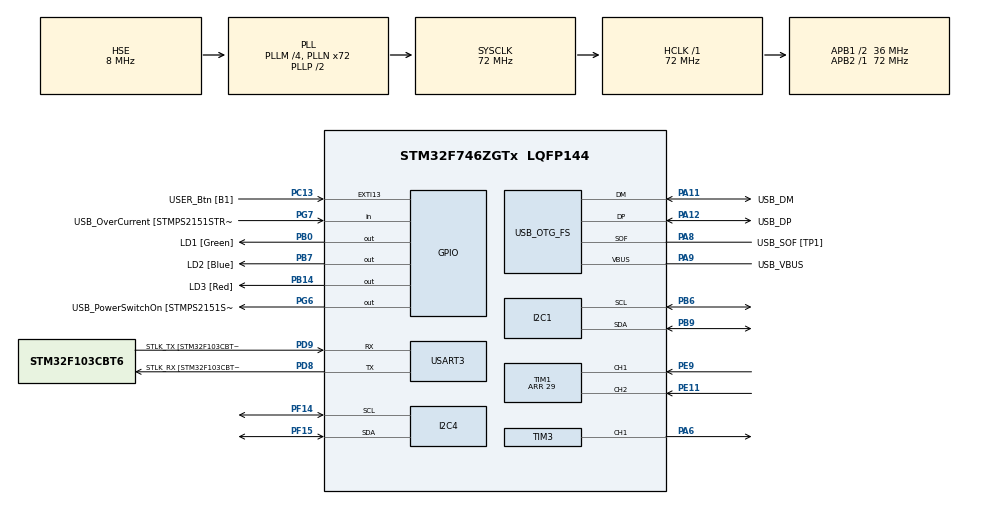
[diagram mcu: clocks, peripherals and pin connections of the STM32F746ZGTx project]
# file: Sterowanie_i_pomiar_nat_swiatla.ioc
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I2C1.Timing=0x00808CD2
I2C4.Timing=0x00808CD2
Mcu.Family=STM32F7
Mcu.Name=STM32F746ZGTx
Mcu.Package=LQFP144
NVIC.PriorityGroup=NVIC_PRIORITYGROUP_4
PA1.GPIO_Label=RMII_REF_CLK [LAN8742A-CZ-TR_REFCLK0]
PA1.Signal=ETH_REF_CLK
PA10.GPIO_Label=USB_ID
PA10.Signal=USB_OTG_FS_ID
PA11.GPIO_Label=USB_DM
PA11.Mode=Device_Only
PA11.Signal=USB_OTG_FS_DM
PA12.GPIO_Label=USB_DP
PA12.Mode=Device_Only
PA12.Signal=USB_OTG_FS_DP
PA13.GPIO_Label=TMS
PA13.Mode=Serial_Wire
PA13.Signal=SYS_JTMS-SWDIO
PA14.GPIO_Label=TCK
PA14.Mode=Serial_Wire
PA14.Signal=SYS_JTCK-SWCLK
PA2.GPIO_Label=RMII_MDIO [LAN8742A-CZ-TR_MDIO]
PA2.Signal=ETH_MDIO
PA6.Signal=S_TIM3_CH1
PA7.GPIO_Label=RMII_CRS_DV [LAN8742A-CZ-TR_CRS_DV]
PA7.Signal=ETH_CRS_DV
PA8.GPIO_Label=USB_SOF [TP1]
PA8.Mode=Activate_SOF_FS
PA8.Signal=USB_OTG_FS_SOF
PA9.GPIO_Label=USB_VBUS
PA9.Mode=Activate_VBUS
PA9.Signal=USB_OTG_FS_VBUS
PB0.GPIO_Label=LD1 [Green]
PB0.Signal=GPIO_Output
PB13.GPIO_Label=RMII_TXD1 [LAN8742A-CZ-TR_TXD1]
PB13.Signal=ETH_TXD1
PB14.GPIO_Label=LD3 [Red]
PB14.Signal=GPIO_Output
PB3.GPIO_Label=SW0
PB3.Signal=SYS_JTDO-SWO
PB6.Mode=I2C
PB6.Signal=I2C1_SCL
PB7.GPIO_Label=LD2 [Blue]
PB7.Signal=GPIO_Output
PB9.Mode=I2C
PB9.Signal=I2C1_SDA
PC1.GPIO_Label=RMII_MDC [LAN8742A-CZ-TR_MDC]
PC1.Signal=ETH_MDC
PC13.GPIO_Label=USER_Btn [B1]
PC13.Signal=GPXTI13
PC14/OSC32_IN.Mode=LSE-External-Oscillator
PC14/OSC32_IN.Signal=RCC_OSC32_IN
PC15/OSC32_OUT.Mode=LSE-External-Oscillator
PC15/OSC32_OUT.Signal=RCC_OSC32_OUT
PC4.GPIO_Label=RMII_RXD0 [LAN8742A-CZ-TR_RXD0]
PC4.Signal=ETH_RXD0
PC5.GPIO_Label=RMII_RXD1 [LAN8742A-CZ-TR_RXD1]
PC5.Signal=ETH_RXD1
PD8.GPIO_Label=STLK_RX [STM32F103CBT6_PA3]
PD8.Mode=Asynchronous
PD8.Signal=USART3_TX
PD9.GPIO_Label=STLK_TX [STM32F103CBT6_PA2]
PD9.Mode=Asynchronous
PD9.Signal=USART3_RX
PE11.Signal=S_TIM1_CH2
PE9.Signal=S_TIM1_CH1
PF14.Mode=I2C
PF14.Signal=I2C4_SCL
PF15.Mode=I2C
PF15.Signal=I2C4_SDA
PG11.GPIO_Label=RMII_TX_EN [LAN8742A-CZ-TR_TXEN]
PG11.Signal=ETH_TX_EN
PG13.GPIO_Label=RMII_TXD0 [LAN8742A-CZ-TR_TXD0]
PG13.Signal=ETH_TXD0
PG6.GPIO_Label=USB_PowerSwitchOn [STMPS2151STR_EN]
PG6.Signal=GPIO_Output
PG7.GPIO_Label=USB_OverCurrent [STMPS2151STR_FAULT]
PG7.Signal=GPIO_Input
PH0/OSC_IN.GPIO_Label=MCO [STM32F103CBT6_PA8]
PH0/OSC_IN.Mode=HSE-External-Clock-Source
PH0/OSC_IN.Signal=RCC_OSC_IN
PH1/OSC_OUT.Mode=HSE-External-Clock-Source
PH1/OSC_OUT.Signal=RCC_OSC_OUT
ProjectManager.HeapSize=0x200
ProjectManager.StackSize=0x400
ProjectManager.TargetToolchain=STM32CubeIDE
RCC.48MHZClocksFreq_Value=24000000
RCC.AHBFreq_Value=72000000
RCC.APB1CLKDivider=RCC_HCLK_DIV2
RCC.APB1Freq_Value=36000000
RCC.APB1TimFreq_Value=72000000
RCC.APB2Freq_Value=72000000
RCC.APB2TimFreq_Value=72000000
RCC.CortexFreq_Value=72000000
RCC.HCLKFreq_Value=72000000
RCC.HSE_VALUE=8000000
RCC.HSI_VALUE=16000000
RCC.PLLM=4
RCC.PLLMUL=RCC_PLL_MUL9
RCC.PLLN=72
RCC.PLLQ=3
RCC.PRESCALERUSB=RCC_USBCLKSOURCE_PLL_DIV1_5
RCC.SYSCLKFreq_VALUE=72000000
RCC.SYSCLKSource=RCC_SYSCLKSOURCE_PLLCLK
RCC.SYSCLKSourceVirtual=RCC_SYSCLKSOURCE_PLLCLK
RCC.USBFreq_Value=48000000
RCC.VCOOutputFreq_Value=144000000
SH.S_TIM1_CH1.0=TIM1_CH1,Encoder_Interface
SH.S_TIM1_CH2.0=TIM1_CH2,Encoder_Interface
SH.S_TIM3_CH1.0=TIM3_CH1,PWM Generation1 CH1
TIM1.Period=29
TIM3.Channel-PWM\ Generation1\ CH1=TIM_CHANNEL_1
TIM3.Period=99
USART3.VirtualMode-Asynchronous=VM_ASYNC
USB_OTG_FS.VirtualMode=Device_Only
board=NUCLEO-F746ZG

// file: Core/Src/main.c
/* USER CODE BEGIN Header */
/**
  ******************************************************************************
  * @file           : main.c
  * @brief          : Main program body
  ******************************************************************************
  * @attention
  *
  * <h2><center>&copy; Copyright (c) 2022 STMicroelectronics.
  * All rights reserved.</center></h2>
  *
  * This software component is licensed by ST under BSD 3-Clause license,
  * the "License"; You may not use this file except in compliance with the
  * License. You may obtain a copy of the License at:
  *                        opensource.org/licenses/BSD-3-Clause
  *
  ******************************************************************************
  */
/* USER CODE END Header */
#include "main.h"

/* USER CODE BEGIN Includes */
#include "i2c-lcd.h"
#include "bh1750.h"
#include <stdio.h>
#include <string.h>

/* USER CODE END Includes */

I2C_HandleTypeDef hi2c1;
I2C_HandleTypeDef hi2c4;

TIM_HandleTypeDef htim1;
TIM_HandleTypeDef htim3;

UART_HandleTypeDef huart3;

PCD_HandleTypeDef hpcd_USB_OTG_FS;

/* USER CODE BEGIN PV */
float BH1750_lux;

/* USER CODE END PV */

void SystemClock_Config(void);
static void MX_GPIO_Init(void);
static void MX_USART3_UART_Init(void);
static void MX_USB_OTG_FS_PCD_Init(void);
static void MX_I2C4_Init(void);
static void MX_TIM3_Init(void);
static void MX_I2C1_Init(void);
static void MX_TIM1_Init(void);

int main(void)
{
  /* USER CODE BEGIN 1 */
#define MAX_LENGTH 30
char text[MAX_LENGTH];
char msg[64];
int impulsy;
int pwm = 0;
int pwm_max = 100;
int pwm_min = 0;
  /* USER CODE END 1 */

  /* MCU Configuration--------------------------------------------------------*/

  /* Reset of all peripherals, Initializes the Flash interface and the Systick. */
  HAL_Init();

  /* Configure the system clock */
  SystemClock_Config();

  /* Initialize all configured peripherals */
  MX_GPIO_Init();
  MX_USART3_UART_Init();
  MX_USB_OTG_FS_PCD_Init();
  MX_I2C4_Init();
  MX_TIM3_Init();
  MX_I2C1_Init();
  MX_TIM1_Init();
  /* USER CODE BEGIN 2 */

  HAL_TIM_PWM_Start(&htim3,TIM_CHANNEL_1);

  HAL_TIM_Encoder_Start(&htim1, TIM_CHANNEL_ALL);

  BH1750_Init(&hi2c1);
  BH1750_SetMode(CONTINUOUS_HIGH_RES_MODE_2);

  lcd_init();
  lcd_send_string ("Projekt");
  HAL_Delay(1000);
  lcd_put_cur(0, 0);
  lcd_send_string("Grzegorz");
  lcd_put_cur(1, 0);
  lcd_send_string("Gruszczynski");
  HAL_Delay(1500);

  /* USER CODE END 2 */

  /* Infinite loop */
  while (1)
  {

    /* USER CODE BEGIN 3 */

	  BH1750_ReadLight(&BH1750_lux);

	  lcd_clear ();
	  lcd_put_cur(0, 0);
	  sprintf((char*)text, "P.swiatla  %.2f  LUX", BH1750_lux);
	  lcd_send_string(text);

	  int imp = impulsy;
	  impulsy = __HAL_TIM_GET_COUNTER(&htim1);
	  if((impulsy > imp) && (pwm < pwm_max)){
	  	pwm = pwm + 10;
	  }else if((impulsy < imp) && (pwm > pwm_min)){
	  	pwm = pwm - 10;
	  }
	  __HAL_TIM_SET_COMPARE(&htim3,TIM_CHANNEL_1,pwm);

	  sprintf((char*)msg, "PWM = %3i" , pwm);
	  lcd_put_cur(1,0);
	  lcd_send_string(msg);
	  HAL_Delay(250);

  }
  /* USER CODE END 3 */
}

void SystemClock_Config(void)
{
  RCC_OscInitTypeDef RCC_OscInitStruct = {0};
  RCC_ClkInitTypeDef RCC_ClkInitStruct = {0};
  RCC_PeriphCLKInitTypeDef PeriphClkInitStruct = {0};

  /** Configure LSE Drive Capability
  */
  HAL_PWR_EnableBkUpAccess();
  /** Configure the main internal regulator output voltage
  */
  __HAL_RCC_PWR_CLK_ENABLE();
  __HAL_PWR_VOLTAGESCALING_CONFIG(PWR_REGULATOR_VOLTAGE_SCALE3);
  /** Initializes the RCC Oscillators according to the specified parameters
  * in the RCC_OscInitTypeDef structure.
  */
  RCC_OscInitStruct.OscillatorType = RCC_OSCILLATORTYPE_HSE;
  RCC_OscInitStruct.HSEState = RCC_HSE_BYPASS;
  RCC_OscInitStruct.PLL.PLLState = RCC_PLL_ON;
  RCC_OscInitStruct.PLL.PLLSource = RCC_PLLSOURCE_HSE;
  RCC_OscInitStruct.PLL.PLLM = 4;
  RCC_OscInitStruct.PLL.PLLN = 72;
  RCC_OscInitStruct.PLL.PLLP = RCC_PLLP_DIV2;
  RCC_OscInitStruct.PLL.PLLQ = 3;
  if (HAL_RCC_OscConfig(&RCC_OscInitStruct) != HAL_OK)
  {
    Error_Handler();
  }
  /** Initializes the CPU, AHB and APB buses clocks
  */
  RCC_ClkInitStruct.ClockType = RCC_CLOCKTYPE_HCLK|RCC_CLOCKTYPE_SYSCLK
                              |RCC_CLOCKTYPE_PCLK1|RCC_CLOCKTYPE_PCLK2;
  RCC_ClkInitStruct.SYSCLKSource = RCC_SYSCLKSOURCE_PLLCLK;
  RCC_ClkInitStruct.AHBCLKDivider = RCC_SYSCLK_DIV1;
  RCC_ClkInitStruct.APB1CLKDivider = RCC_HCLK_DIV2;
  RCC_ClkInitStruct.APB2CLKDivider = RCC_HCLK_DIV1;

  if (HAL_RCC_ClockConfig(&RCC_ClkInitStruct, FLASH_LATENCY_2) != HAL_OK)
  {
    Error_Handler();
  }
  PeriphClkInitStruct.PeriphClockSelection = RCC_PERIPHCLK_USART3|RCC_PERIPHCLK_I2C1
                              |RCC_PERIPHCLK_I2C4|RCC_PERIPHCLK_CLK48;
  PeriphClkInitStruct.Usart3ClockSelection = RCC_USART3CLKSOURCE_PCLK1;
  PeriphClkInitStruct.I2c1ClockSelection = RCC_I2C1CLKSOURCE_PCLK1;
  PeriphClkInitStruct.I2c4ClockSelection = RCC_I2C4CLKSOURCE_PCLK1;
  PeriphClkInitStruct.Clk48ClockSelection = RCC_CLK48SOURCE_PLL;
  if (HAL_RCCEx_PeriphCLKConfig(&PeriphClkInitStruct) != HAL_OK)
  {
    Error_Handler();
  }
}

static void MX_I2C1_Init(void)
{

  hi2c1.Instance = I2C1;
  hi2c1.Init.Timing = 0x00808CD2;
  hi2c1.Init.OwnAddress1 = 0;
  hi2c1.Init.AddressingMode = I2C_ADDRESSINGMODE_7BIT;
  hi2c1.Init.DualAddressMode = I2C_DUALADDRESS_DISABLE;
  hi2c1.Init.OwnAddress2 = 0;
  hi2c1.Init.OwnAddress2Masks = I2C_OA2_NOMASK;
  hi2c1.Init.GeneralCallMode = I2C_GENERALCALL_DISABLE;
  hi2c1.Init.NoStretchMode = I2C_NOSTRETCH_DISABLE;
  if (HAL_I2C_Init(&hi2c1) != HAL_OK)
  {
    Error_Handler();
  }
  /** Configure Analogue filter
  */
  if (HAL_I2CEx_ConfigAnalogFilter(&hi2c1, I2C_ANALOGFILTER_ENABLE) != HAL_OK)
  {
    Error_Handler();
  }
  /** Configure Digital filter
  */
  if (HAL_I2CEx_ConfigDigitalFilter(&hi2c1, 0) != HAL_OK)
  {
    Error_Handler();
  }

}

static void MX_I2C4_Init(void)
{

  hi2c4.Instance = I2C4;
  hi2c4.Init.Timing = 0x00808CD2;
  hi2c4.Init.OwnAddress1 = 0;
  hi2c4.Init.AddressingMode = I2C_ADDRESSINGMODE_7BIT;
  hi2c4.Init.DualAddressMode = I2C_DUALADDRESS_DISABLE;
  hi2c4.Init.OwnAddress2 = 0;
  hi2c4.Init.OwnAddress2Masks = I2C_OA2_NOMASK;
  hi2c4.Init.GeneralCallMode = I2C_GENERALCALL_DISABLE;
  hi2c4.Init.NoStretchMode = I2C_NOSTRETCH_DISABLE;
  if (HAL_I2C_Init(&hi2c4) != HAL_OK)
  {
    Error_Handler();
  }
  /** Configure Analogue filter
  */
  if (HAL_I2CEx_ConfigAnalogFilter(&hi2c4, I2C_ANALOGFILTER_ENABLE) != HAL_OK)
  {
    Error_Handler();
  }
  /** Configure Digital filter
  */
  if (HAL_I2CEx_ConfigDigitalFilter(&hi2c4, 0) != HAL_OK)
  {
    Error_Handler();
  }

}

static void MX_TIM1_Init(void)
{

  TIM_Encoder_InitTypeDef sConfig = {0};
  TIM_MasterConfigTypeDef sMasterConfig = {0};

  htim1.Instance = TIM1;
  htim1.Init.Prescaler = 0;
  htim1.Init.CounterMode = TIM_COUNTERMODE_UP;
  htim1.Init.Period = 23;
  htim1.Init.ClockDivision = TIM_CLOCKDIVISION_DIV1;
  htim1.Init.RepetitionCounter = 0;
  htim1.Init.AutoReloadPreload = TIM_AUTORELOAD_PRELOAD_DISABLE;
  sConfig.EncoderMode = TIM_ENCODERMODE_TI1;
  sConfig.IC1Polarity = TIM_ICPOLARITY_RISING;
  sConfig.IC1Selection = TIM_ICSELECTION_DIRECTTI;
  sConfig.IC1Prescaler = TIM_ICPSC_DIV1;
  sConfig.IC1Filter = 0;
  sConfig.IC2Polarity = TIM_ICPOLARITY_RISING;
  sConfig.IC2Selection = TIM_ICSELECTION_DIRECTTI;
  sConfig.IC2Prescaler = TIM_ICPSC_DIV1;
  sConfig.IC2Filter = 0;
  if (HAL_TIM_Encoder_Init(&htim1, &sConfig) != HAL_OK)
  {
    Error_Handler();
  }
  sMasterConfig.MasterOutputTrigger = TIM_TRGO_RESET;
  sMasterConfig.MasterOutputTrigger2 = TIM_TRGO2_RESET;
  sMasterConfig.MasterSlaveMode = TIM_MASTERSLAVEMODE_DISABLE;
  if (HAL_TIMEx_MasterConfigSynchronization(&htim1, &sMasterConfig) != HAL_OK)
  {
    Error_Handler();
  }

}

static void MX_TIM3_Init(void)
{

  TIM_ClockConfigTypeDef sClockSourceConfig = {0};
  TIM_MasterConfigTypeDef sMasterConfig = {0};
  TIM_OC_InitTypeDef sConfigOC = {0};

  htim3.Instance = TIM3;
  htim3.Init.Prescaler = 0;
  htim3.Init.CounterMode = TIM_COUNTERMODE_UP;
  htim3.Init.Period = 99;
  htim3.Init.ClockDivision = TIM_CLOCKDIVISION_DIV1;
  htim3.Init.AutoReloadPreload = TIM_AUTORELOAD_PRELOAD_DISABLE;
  if (HAL_TIM_Base_Init(&htim3) != HAL_OK)
  {
    Error_Handler();
  }
  sClockSourceConfig.ClockSource = TIM_CLOCKSOURCE_INTERNAL;
  if (HAL_TIM_ConfigClockSource(&htim3, &sClockSourceConfig) != HAL_OK)
  {
    Error_Handler();
  }
  if (HAL_TIM_PWM_Init(&htim3) != HAL_OK)
  {
    Error_Handler();
  }
  sMasterConfig.MasterOutputTrigger = TIM_TRGO_RESET;
  sMasterConfig.MasterSlaveMode = TIM_MASTERSLAVEMODE_DISABLE;
  if (HAL_TIMEx_MasterConfigSynchronization(&htim3, &sMasterConfig) != HAL_OK)
  {
    Error_Handler();
  }
  sConfigOC.OCMode = TIM_OCMODE_PWM1;
  sConfigOC.Pulse = 0;
  sConfigOC.OCPolarity = TIM_OCPOLARITY_HIGH;
  sConfigOC.OCFastMode = TIM_OCFAST_DISABLE;
  if (HAL_TIM_PWM_ConfigChannel(&htim3, &sConfigOC, TIM_CHANNEL_1) != HAL_OK)
  {
    Error_Handler();
  }
  HAL_TIM_MspPostInit(&htim3);

}

static void MX_USART3_UART_Init(void)
{

  huart3.Instance = USART3;
  huart3.Init.BaudRate = 115200;
  huart3.Init.WordLength = UART_WORDLENGTH_8B;
  huart3.Init.StopBits = UART_STOPBITS_1;
  huart3.Init.Parity = UART_PARITY_NONE;
  huart3.Init.Mode = UART_MODE_TX_RX;
  huart3.Init.HwFlowCtl = UART_HWCONTROL_NONE;
  huart3.Init.OverSampling = UART_OVERSAMPLING_16;
  huart3.Init.OneBitSampling = UART_ONE_BIT_SAMPLE_DISABLE;
  huart3.AdvancedInit.AdvFeatureInit = UART_ADVFEATURE_NO_INIT;
  if (HAL_UART_Init(&huart3) != HAL_OK)
  {
    Error_Handler();
  }

}

static void MX_USB_OTG_FS_PCD_Init(void)
{

  hpcd_USB_OTG_FS.Instance = USB_OTG_FS;
  hpcd_USB_OTG_FS.Init.dev_endpoints = 6;
  hpcd_USB_OTG_FS.Init.speed = PCD_SPEED_FULL;
  hpcd_USB_OTG_FS.Init.dma_enable = DISABLE;
  hpcd_USB_OTG_FS.Init.phy_itface = PCD_PHY_EMBEDDED;
  hpcd_USB_OTG_FS.Init.Sof_enable = ENABLE;
  hpcd_USB_OTG_FS.Init.low_power_enable = DISABLE;
  hpcd_USB_OTG_FS.Init.lpm_enable = DISABLE;
  hpcd_USB_OTG_FS.Init.vbus_sensing_enable = ENABLE;
  hpcd_USB_OTG_FS.Init.use_dedicated_ep1 = DISABLE;
  if (HAL_PCD_Init(&hpcd_USB_OTG_FS) != HAL_OK)
  {
    Error_Handler();
  }

}

static void MX_GPIO_Init(void)
{
  GPIO_InitTypeDef GPIO_InitStruct = {0};

  /* GPIO Ports Clock Enable */
  __HAL_RCC_GPIOC_CLK_ENABLE();
  __HAL_RCC_GPIOH_CLK_ENABLE();
  __HAL_RCC_GPIOA_CLK_ENABLE();
  __HAL_RCC_GPIOB_CLK_ENABLE();
  __HAL_RCC_GPIOF_CLK_ENABLE();
  __HAL_RCC_GPIOE_CLK_ENABLE();
  __HAL_RCC_GPIOD_CLK_ENABLE();
  __HAL_RCC_GPIOG_CLK_ENABLE();

  /*Configure GPIO pin Output Level */
  HAL_GPIO_WritePin(GPIOB, LD1_Pin|LD3_Pin|LD2_Pin, GPIO_PIN_RESET);

  /*Configure GPIO pin Output Level */
  HAL_GPIO_WritePin(USB_PowerSwitchOn_GPIO_Port, USB_PowerSwitchOn_Pin, GPIO_PIN_RESET);

  /*Configure GPIO pin : USER_Btn_Pin */
  GPIO_InitStruct.Pin = USER_Btn_Pin;
  GPIO_InitStruct.Mode = GPIO_MODE_IT_RISING;
  GPIO_InitStruct.Pull = GPIO_NOPULL;
  HAL_GPIO_Init(USER_Btn_GPIO_Port, &GPIO_InitStruct);

  /*Configure GPIO pins : RMII_MDC_Pin RMII_RXD0_Pin RMII_RXD1_Pin */
  GPIO_InitStruct.Pin = RMII_MDC_Pin|RMII_RXD0_Pin|RMII_RXD1_Pin;
  GPIO_InitStruct.Mode = GPIO_MODE_AF_PP;
  GPIO_InitStruct.Pull = GPIO_NOPULL;
  GPIO_InitStruct.Speed = GPIO_SPEED_FREQ_VERY_HIGH;
  GPIO_InitStruct.Alternate = GPIO_AF11_ETH;
  HAL_GPIO_Init(GPIOC, &GPIO_InitStruct);

  /*Configure GPIO pins : RMII_REF_CLK_Pin RMII_MDIO_Pin RMII_CRS_DV_Pin */
  GPIO_InitStruct.Pin = RMII_REF_CLK_Pin|RMII_MDIO_Pin|RMII_CRS_DV_Pin;
  GPIO_InitStruct.Mode = GPIO_MODE_AF_PP;
  GPIO_InitStruct.Pull = GPIO_NOPULL;
  GPIO_InitStruct.Speed = GPIO_SPEED_FREQ_VERY_HIGH;
  GPIO_InitStruct.Alternate = GPIO_AF11_ETH;
  HAL_GPIO_Init(GPIOA, &GPIO_InitStruct);

  /*Configure GPIO pins : LD1_Pin LD3_Pin LD2_Pin */
  GPIO_InitStruct.Pin = LD1_Pin|LD3_Pin|LD2_Pin;
  GPIO_InitStruct.Mode = GPIO_MODE_OUTPUT_PP;
  GPIO_InitStruct.Pull = GPIO_NOPULL;
  GPIO_InitStruct.Speed = GPIO_SPEED_FREQ_LOW;
  HAL_GPIO_Init(GPIOB, &GPIO_InitStruct);

  /*Configure GPIO pin : RMII_TXD1_Pin */
  GPIO_InitStruct.Pin = RMII_TXD1_Pin;
  GPIO_InitStruct.Mode = GPIO_MODE_AF_PP;
  GPIO_InitStruct.Pull = GPIO_NOPULL;
  GPIO_InitStruct.Speed = GPIO_SPEED_FREQ_VERY_HIGH;
  GPIO_InitStruct.Alternate = GPIO_AF11_ETH;
  HAL_GPIO_Init(RMII_TXD1_GPIO_Port, &GPIO_InitStruct);

  /*Configure GPIO pin : USB_PowerSwitchOn_Pin */
  GPIO_InitStruct.Pin = USB_PowerSwitchOn_Pin;
  GPIO_InitStruct.Mode = GPIO_MODE_OUTPUT_PP;
  GPIO_InitStruct.Pull = GPIO_NOPULL;
  GPIO_InitStruct.Speed = GPIO_SPEED_FREQ_LOW;
  HAL_GPIO_Init(USB_PowerSwitchOn_GPIO_Port, &GPIO_InitStruct);

  /*Configure GPIO pin : USB_OverCurrent_Pin */
  GPIO_InitStruct.Pin = USB_OverCurrent_Pin;
  GPIO_InitStruct.Mode = GPIO_MODE_INPUT;
  GPIO_InitStruct.Pull = GPIO_NOPULL;
  HAL_GPIO_Init(USB_OverCurrent_GPIO_Port, &GPIO_InitStruct);

  /*Configure GPIO pins : RMII_TX_EN_Pin RMII_TXD0_Pin */
  GPIO_InitStruct.Pin = RMII_TX_EN_Pin|RMII_TXD0_Pin;
  GPIO_InitStruct.Mode = GPIO_MODE_AF_PP;
  GPIO_InitStruct.Pull = GPIO_NOPULL;
  GPIO_InitStruct.Speed = GPIO_SPEED_FREQ_VERY_HIGH;
  GPIO_InitStruct.Alternate = GPIO_AF11_ETH;
  HAL_GPIO_Init(GPIOG, &GPIO_InitStruct);

}

void Error_Handler(void)
{
  __disable_irq();
  while (1)
  {
  }
}

/************************ (C) COPYRIGHT STMicroelectronics *****END OF FILE****/
